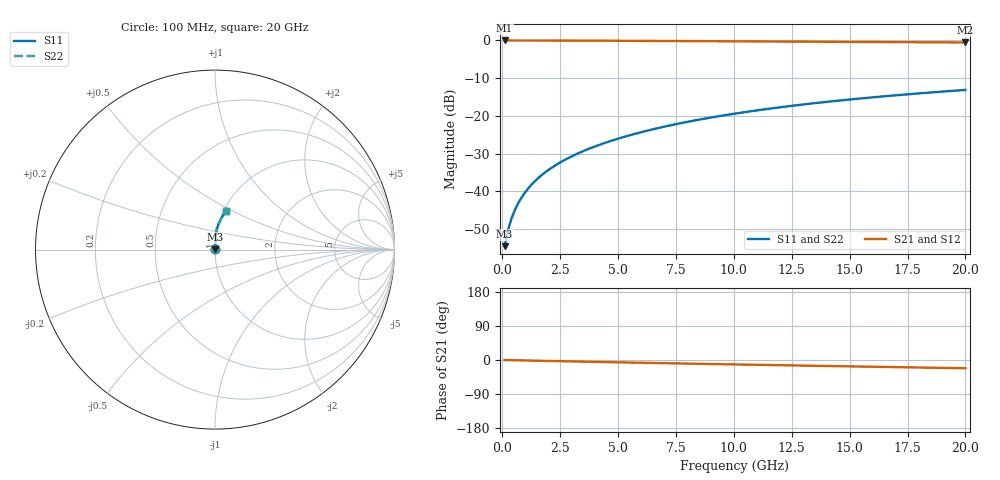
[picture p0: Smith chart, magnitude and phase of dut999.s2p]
! Touchstone file exported from HFSS 2024.1.0
!  File:  C:/UserFiles/LocalFiles/RDL_TSV_Batchsim/temp_RDL_bottom_999_1779944257.aedt
!  Generated:  12:59:55 PM May 28, 2026
!  Design:  RDL_bottom
!  Project:  temp_RDL_bottom_999_1779944257
!  Setup:  Setup1
!  Solution:  Sweep
! Variables:
!  dtsv = 10.80580581um
!  hbump = 3um
!  htsv = 90.75um
!  ldown = 283.34um
!  lrdl = 100um
!  p = 40
!  p1 = 49.22um
!  rhole = 1um
!  t = 450um
!  tdown = 3.27um
!  trdl = 3.915915916um
!  wdown = 23.34um
!  wrdl = 20um
# GHz S MA R 50.000000
! Terminal data exported
! Port[1] = RDL1_T1
! Port[2] = RDL1_T2
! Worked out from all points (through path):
!   200 points, 100 MHz to 20 GHz, reference 50 ohm
!   highest |S21| = -0.01 dB at 100 MHz (marker M1); lowest = -0.6 dB at 20 GHz (marker M2)
!   group delay of S21, straight-line fit = 2.99 ps
!   lowest |S11| = -54.5 dB at 100 MHz (marker M3), VSWR 1.00, Z = 50.2 + j0.106 ohm
!   |S11| at or under -10 dB: start of sweep to end of sweep
!   |S22| runs from -54.5 to -13.1 dB; largest |S21 - S12| = 2.7e-15
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0.1  0.001886 34.2  0.9984 -0.1  0.9984 -0.1  0.001886 34.2
! Gamma 0 0 0 0
! Port Impedance 50 0 50 0
0.2  0.002644 52.1  0.9984 -0.3  0.9984 -0.3  0.002644 52.1
0.3  0.003507 61.1  0.9983 -0.4  0.9983 -0.4  0.003507 61.0
0.4  0.004393 66.4  0.9982 -0.5  0.9982 -0.5  0.004393 66.4
0.5  0.005285 70.1  0.9981 -0.6  0.9981 -0.6  0.005285 70.1
0.6  0.006184 72.8  0.998 -0.8  0.998 -0.8  0.006184 72.8
0.8  0.008001 76.6  0.9978 -1.0  0.9978 -1.0  0.008001 76.6
1.1  0.01077 80.1  0.9975 -1.4  0.9975 -1.4  0.01077 80.1
1.3  0.01265 81.7  0.9973 -1.7  0.9973 -1.7  0.01265 81.6
1.6  0.01549 83.3  0.997 -2.0  0.997 -2.0  0.01549 83.3
2.1  0.0203 85.2  0.9962 -2.6  0.9962 -2.6  0.0203 85.2
2.7  0.0262 86.5  0.9952 -3.4  0.9952 -3.4  0.0262 86.5
3.5  0.03426 87.6  0.9934 -4.4  0.9934 -4.4  0.03426 87.6
4.2  0.0415 88.0  0.9916 -5.2  0.9916 -5.2  0.0415 88.0
5  0.05 88.2  0.9893 -6.1  0.9893 -6.1  0.05 88.2
5.9  0.05982 88.1  0.9865 -7.2  0.9865 -7.2  0.05982 88.1
6.8  0.06987 87.8  0.9835 -8.2  0.9835 -8.2  0.06986 87.8
8.4  0.08816 86.7  0.9781 -10.0  0.9781 -10.0  0.08815 86.7
10.1  0.108 85.2  0.9723 -11.8  0.9723 -11.8  0.1079 85.2
13.4  0.1465 81.7  0.9611 -15.2  0.9611 -15.2  0.1465 81.7
16.7  0.1844 78.0  0.9499 -18.5  0.9499 -18.5  0.1844 78.0
20  0.221 74.3  0.9385 -21.8  0.9385 -21.8  0.221 74.3
